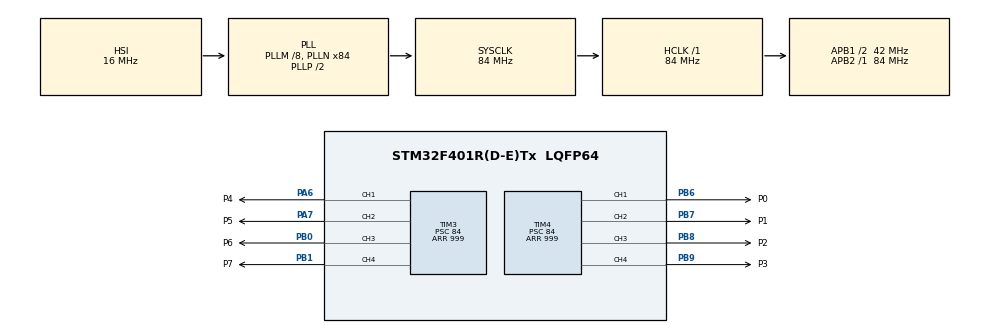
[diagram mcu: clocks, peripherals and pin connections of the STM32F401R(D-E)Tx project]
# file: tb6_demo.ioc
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Mcu.Family=STM32F4
Mcu.Name=STM32F401R(D-E)Tx
Mcu.Package=LQFP64
NVIC.PriorityGroup=NVIC_PRIORITYGROUP_4
PA13.Mode=Serial_Wire
PA13.Signal=SYS_JTMS-SWDIO
PA14.Mode=Serial_Wire
PA14.Signal=SYS_JTCK-SWCLK
PA6.GPIO_Label=P4
PA6.Signal=S_TIM3_CH1
PA7.GPIO_Label=P5
PA7.Signal=S_TIM3_CH2
PB0.GPIO_Label=P6
PB0.Signal=S_TIM3_CH3
PB1.GPIO_Label=P7
PB1.Signal=S_TIM3_CH4
PB6.GPIO_Label=P0
PB6.Signal=S_TIM4_CH1
PB7.GPIO_Label=P1
PB7.Signal=S_TIM4_CH2
PB8.GPIO_Label=P2
PB8.Signal=S_TIM4_CH3
PB9.GPIO_Label=P3
PB9.Signal=S_TIM4_CH4
ProjectManager.HeapSize=0x200
ProjectManager.StackSize=0x400
ProjectManager.TargetToolchain=TrueSTUDIO
RCC.48MHZClocksFreq_Value=42000000
RCC.AHBFreq_Value=84000000
RCC.APB1CLKDivider=RCC_HCLK_DIV2
RCC.APB1Freq_Value=42000000
RCC.APB1TimFreq_Value=84000000
RCC.APB2Freq_Value=84000000
RCC.APB2TimFreq_Value=84000000
RCC.CortexFreq_Value=84000000
RCC.HCLKFreq_Value=84000000
RCC.HSE_VALUE=25000000
RCC.HSI_VALUE=16000000
RCC.LSE_VALUE=32768
RCC.PLLM=8
RCC.PLLN=84
RCC.SYSCLKFreq_VALUE=84000000
RCC.SYSCLKSource=RCC_SYSCLKSOURCE_PLLCLK
RCC.VCOOutputFreq_Value=168000000
SH.S_TIM3_CH1.0=TIM3_CH1,PWM Generation1 CH1
SH.S_TIM3_CH2.0=TIM3_CH2,PWM Generation2 CH2
SH.S_TIM3_CH3.0=TIM3_CH3,PWM Generation3 CH3
SH.S_TIM3_CH4.0=TIM3_CH4,PWM Generation4 CH4
SH.S_TIM4_CH1.0=TIM4_CH1,PWM Generation1 CH1
SH.S_TIM4_CH2.0=TIM4_CH2,PWM Generation2 CH2
SH.S_TIM4_CH3.0=TIM4_CH3,PWM Generation3 CH3
SH.S_TIM4_CH4.0=TIM4_CH4,PWM Generation4 CH4
TIM3.AutoReloadPreload=TIM_AUTORELOAD_PRELOAD_ENABLE
TIM3.Channel-PWM\ Generation1\ CH1=TIM_CHANNEL_1
TIM3.Channel-PWM\ Generation2\ CH2=TIM_CHANNEL_2
TIM3.Channel-PWM\ Generation3\ CH3=TIM_CHANNEL_3
TIM3.Channel-PWM\ Generation4\ CH4=TIM_CHANNEL_4
TIM3.Period=999
TIM3.Prescaler=84
TIM4.Channel-PWM\ Generation1\ CH1=TIM_CHANNEL_1
TIM4.Channel-PWM\ Generation2\ CH2=TIM_CHANNEL_2
TIM4.Channel-PWM\ Generation3\ CH3=TIM_CHANNEL_3
TIM4.Channel-PWM\ Generation4\ CH4=TIM_CHANNEL_4
TIM4.Period=999
TIM4.Prescaler=84
VP_TIM3_VS_ClockSourceINT.Mode=Internal
VP_TIM4_VS_ClockSourceINT.Mode=Internal
board=custom

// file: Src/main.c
/* USER CODE BEGIN Header */
/**
  ******************************************************************************
  * @file           : main.c
  * @brief          : Main program body
  ******************************************************************************
  * @attention
  *
  * <h2><center>&copy; Copyright (c) 2019 STMicroelectronics.
  * All rights reserved.</center></h2>
  *
  * This software component is licensed by ST under BSD 3-Clause license,
  * the "License"; You may not use this file except in compliance with the
  * License. You may obtain a copy of the License at:
  *                        opensource.org/licenses/BSD-3-Clause
  *
  ******************************************************************************
  */
/* USER CODE END Header */

#include "main.h"

/* USER CODE BEGIN Includes */
#include "arm_math.h"
#include "led.h"
/* USER CODE END Includes */

TIM_HandleTypeDef htim3;
TIM_HandleTypeDef htim4;

void SystemClock_Config(void);
static void MX_GPIO_Init(void);
static void MX_TIM3_Init(void);
static void MX_TIM4_Init(void);
/* USER CODE BEGIN PFP */
static void ConvF2CC(uint16_t *out, float32_t *in);
static void WriteCC2TIM(uint16_t *in);

/* USER CODE END PFP */

/* USER CODE BEGIN 0 */
float32_t fout[LEDNUM];
uint16_t ccout[LEDNUM];
LEDFuncs_t LEDFuncs_p[LEDFUNCNUM] = {
  LEDWave1,
  LEDWave2,
  LEDBlinkSlow,
  LEDWave3,
  LEDWave4,
  LEDBlink,
};
/* USER CODE END 0 */

int main(void)
{
  /* USER CODE BEGIN 1 */
  int32_t i,j;
  /* USER CODE END 1 */

  /* MCU Configuration--------------------------------------------------------*/

  /* Reset of all peripherals, Initializes the Flash interface and the Systick. */
  HAL_Init();

  /* Configure the system clock */
  SystemClock_Config();

  /* Initialize all configured peripherals */
  MX_GPIO_Init();
  MX_TIM3_Init();
  MX_TIM4_Init();
  /* USER CODE BEGIN 2 */
  HAL_TIM_PWM_Start(&htim3, TIM_CHANNEL_1);
  HAL_TIM_PWM_Start(&htim3, TIM_CHANNEL_2);
  HAL_TIM_PWM_Start(&htim3, TIM_CHANNEL_3);
  HAL_TIM_PWM_Start(&htim3, TIM_CHANNEL_4);
  HAL_TIM_PWM_Start(&htim4, TIM_CHANNEL_1);
  HAL_TIM_PWM_Start(&htim4, TIM_CHANNEL_2);
  HAL_TIM_PWM_Start(&htim4, TIM_CHANNEL_3);
  HAL_TIM_PWM_Start(&htim4, TIM_CHANNEL_4);

  /* USER CODE END 2 */

  /* Infinite loop */
  /* USER CODE BEGIN WHILE */
  j = 0;
  while (1)
  {
    /* USER CODE END WHILE */

    /* USER CODE BEGIN 3 */
    for (i = 0; i < 400; i++) { // 8sec
      LEDFuncs_p[j](fout);
      ConvF2CC(ccout, fout);
      WriteCC2TIM(ccout);
      HAL_Delay(20); // 50fps
    }
    j++;
    j = (j >= LEDFUNCNUM) ? 0 : j;
  }
  /* USER CODE END 3 */
}

void SystemClock_Config(void)
{
  RCC_OscInitTypeDef RCC_OscInitStruct = {0};
  RCC_ClkInitTypeDef RCC_ClkInitStruct = {0};

  /** Configure the main internal regulator output voltage
  */
  __HAL_RCC_PWR_CLK_ENABLE();
  __HAL_PWR_VOLTAGESCALING_CONFIG(PWR_REGULATOR_VOLTAGE_SCALE2);
  /** Initializes the CPU, AHB and APB busses clocks
  */
  RCC_OscInitStruct.OscillatorType = RCC_OSCILLATORTYPE_HSI;
  RCC_OscInitStruct.HSIState = RCC_HSI_ON;
  RCC_OscInitStruct.HSICalibrationValue = RCC_HSICALIBRATION_DEFAULT;
  RCC_OscInitStruct.PLL.PLLState = RCC_PLL_ON;
  RCC_OscInitStruct.PLL.PLLSource = RCC_PLLSOURCE_HSI;
  RCC_OscInitStruct.PLL.PLLM = 8;
  RCC_OscInitStruct.PLL.PLLN = 84;
  RCC_OscInitStruct.PLL.PLLP = RCC_PLLP_DIV2;
  RCC_OscInitStruct.PLL.PLLQ = 4;
  if (HAL_RCC_OscConfig(&RCC_OscInitStruct) != HAL_OK)
  {
    Error_Handler();
  }
  /** Initializes the CPU, AHB and APB busses clocks
  */
  RCC_ClkInitStruct.ClockType = RCC_CLOCKTYPE_HCLK|RCC_CLOCKTYPE_SYSCLK
                              |RCC_CLOCKTYPE_PCLK1|RCC_CLOCKTYPE_PCLK2;
  RCC_ClkInitStruct.SYSCLKSource = RCC_SYSCLKSOURCE_PLLCLK;
  RCC_ClkInitStruct.AHBCLKDivider = RCC_SYSCLK_DIV1;
  RCC_ClkInitStruct.APB1CLKDivider = RCC_HCLK_DIV2;
  RCC_ClkInitStruct.APB2CLKDivider = RCC_HCLK_DIV1;

  if (HAL_RCC_ClockConfig(&RCC_ClkInitStruct, FLASH_LATENCY_2) != HAL_OK)
  {
    Error_Handler();
  }
}

static void MX_TIM3_Init(void)
{

  TIM_ClockConfigTypeDef sClockSourceConfig = {0};
  TIM_MasterConfigTypeDef sMasterConfig = {0};
  TIM_OC_InitTypeDef sConfigOC = {0};

  htim3.Instance = TIM3;
  htim3.Init.Prescaler = 84;
  htim3.Init.CounterMode = TIM_COUNTERMODE_UP;
  htim3.Init.Period = 999;
  htim3.Init.ClockDivision = TIM_CLOCKDIVISION_DIV1;
  htim3.Init.AutoReloadPreload = TIM_AUTORELOAD_PRELOAD_ENABLE;
  if (HAL_TIM_Base_Init(&htim3) != HAL_OK)
  {
    Error_Handler();
  }
  sClockSourceConfig.ClockSource = TIM_CLOCKSOURCE_INTERNAL;
  if (HAL_TIM_ConfigClockSource(&htim3, &sClockSourceConfig) != HAL_OK)
  {
    Error_Handler();
  }
  if (HAL_TIM_PWM_Init(&htim3) != HAL_OK)
  {
    Error_Handler();
  }
  sMasterConfig.MasterOutputTrigger = TIM_TRGO_RESET;
  sMasterConfig.MasterSlaveMode = TIM_MASTERSLAVEMODE_DISABLE;
  if (HAL_TIMEx_MasterConfigSynchronization(&htim3, &sMasterConfig) != HAL_OK)
  {
    Error_Handler();
  }
  sConfigOC.OCMode = TIM_OCMODE_PWM1;
  sConfigOC.Pulse = 0;
  sConfigOC.OCPolarity = TIM_OCPOLARITY_HIGH;
  sConfigOC.OCFastMode = TIM_OCFAST_DISABLE;
  if (HAL_TIM_PWM_ConfigChannel(&htim3, &sConfigOC, TIM_CHANNEL_1) != HAL_OK)
  {
    Error_Handler();
  }
  if (HAL_TIM_PWM_ConfigChannel(&htim3, &sConfigOC, TIM_CHANNEL_2) != HAL_OK)
  {
    Error_Handler();
  }
  if (HAL_TIM_PWM_ConfigChannel(&htim3, &sConfigOC, TIM_CHANNEL_3) != HAL_OK)
  {
    Error_Handler();
  }
  if (HAL_TIM_PWM_ConfigChannel(&htim3, &sConfigOC, TIM_CHANNEL_4) != HAL_OK)
  {
    Error_Handler();
  }
  HAL_TIM_MspPostInit(&htim3);

}

static void MX_TIM4_Init(void)
{

  TIM_ClockConfigTypeDef sClockSourceConfig = {0};
  TIM_MasterConfigTypeDef sMasterConfig = {0};
  TIM_OC_InitTypeDef sConfigOC = {0};

  htim4.Instance = TIM4;
  htim4.Init.Prescaler = 84;
  htim4.Init.CounterMode = TIM_COUNTERMODE_UP;
  htim4.Init.Period = 999;
  htim4.Init.ClockDivision = TIM_CLOCKDIVISION_DIV1;
  htim4.Init.AutoReloadPreload = TIM_AUTORELOAD_PRELOAD_DISABLE;
  if (HAL_TIM_Base_Init(&htim4) != HAL_OK)
  {
    Error_Handler();
  }
  sClockSourceConfig.ClockSource = TIM_CLOCKSOURCE_INTERNAL;
  if (HAL_TIM_ConfigClockSource(&htim4, &sClockSourceConfig) != HAL_OK)
  {
    Error_Handler();
  }
  if (HAL_TIM_PWM_Init(&htim4) != HAL_OK)
  {
    Error_Handler();
  }
  sMasterConfig.MasterOutputTrigger = TIM_TRGO_RESET;
  sMasterConfig.MasterSlaveMode = TIM_MASTERSLAVEMODE_DISABLE;
  if (HAL_TIMEx_MasterConfigSynchronization(&htim4, &sMasterConfig) != HAL_OK)
  {
    Error_Handler();
  }
  sConfigOC.OCMode = TIM_OCMODE_PWM1;
  sConfigOC.Pulse = 0;
  sConfigOC.OCPolarity = TIM_OCPOLARITY_HIGH;
  sConfigOC.OCFastMode = TIM_OCFAST_DISABLE;
  if (HAL_TIM_PWM_ConfigChannel(&htim4, &sConfigOC, TIM_CHANNEL_1) != HAL_OK)
  {
    Error_Handler();
  }
  if (HAL_TIM_PWM_ConfigChannel(&htim4, &sConfigOC, TIM_CHANNEL_2) != HAL_OK)
  {
    Error_Handler();
  }
  if (HAL_TIM_PWM_ConfigChannel(&htim4, &sConfigOC, TIM_CHANNEL_3) != HAL_OK)
  {
    Error_Handler();
  }
  if (HAL_TIM_PWM_ConfigChannel(&htim4, &sConfigOC, TIM_CHANNEL_4) != HAL_OK)
  {
    Error_Handler();
  }
  HAL_TIM_MspPostInit(&htim4);

}

static void MX_GPIO_Init(void)
{

  /* GPIO Ports Clock Enable */
  __HAL_RCC_GPIOA_CLK_ENABLE();
  __HAL_RCC_GPIOB_CLK_ENABLE();

}

/* USER CODE BEGIN 4 */
static void ConvF2CC(uint16_t *out, float32_t *in)
{
  int32_t i;
  for (i = 0; i < LEDNUM; i++){
    out[i] = (int)((in[i]+1.0F)*500.0F);
  }
}

static void WriteCC2TIM(uint16_t *in)
{
  __HAL_TIM_SET_COMPARE(&htim4, TIM_CHANNEL_1, in[0]); //P0
  __HAL_TIM_SET_COMPARE(&htim4, TIM_CHANNEL_2, in[1]); //P1
  __HAL_TIM_SET_COMPARE(&htim4, TIM_CHANNEL_3, in[2]); //P2
  __HAL_TIM_SET_COMPARE(&htim4, TIM_CHANNEL_4, in[3]); //P3
  __HAL_TIM_SET_COMPARE(&htim3, TIM_CHANNEL_1, in[4]); //P4
  __HAL_TIM_SET_COMPARE(&htim3, TIM_CHANNEL_2, in[5]); //P5
  __HAL_TIM_SET_COMPARE(&htim3, TIM_CHANNEL_3, in[6]); //P6
  __HAL_TIM_SET_COMPARE(&htim3, TIM_CHANNEL_4, in[7]); //P7

}
/* USER CODE END 4 */

void Error_Handler(void)
{
}

/************************ (C) COPYRIGHT STMicroelectronics *****END OF FILE****/
